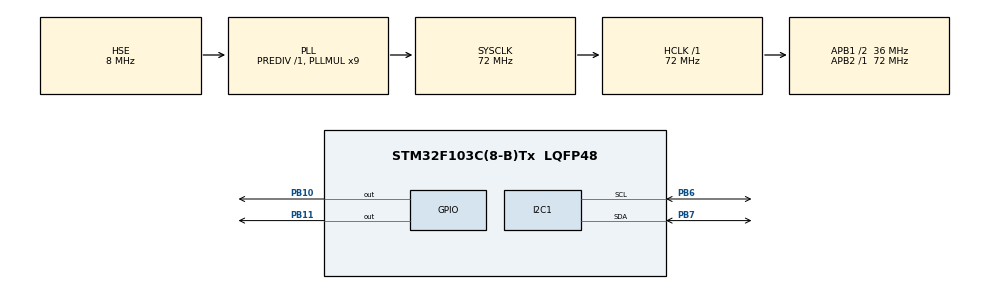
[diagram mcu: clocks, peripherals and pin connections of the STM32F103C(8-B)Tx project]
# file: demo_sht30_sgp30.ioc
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I2C1.I2C_Mode=I2C_Standard
Mcu.Family=STM32F1
Mcu.Name=STM32F103C(8-B)Tx
Mcu.Package=LQFP48
NVIC.PriorityGroup=NVIC_PRIORITYGROUP_4
PA13.Mode=Serial_Wire
PA13.Signal=SYS_JTMS-SWDIO
PA14.Mode=Serial_Wire
PA14.Signal=SYS_JTCK-SWCLK
PB10.GPIO_ModeDefaultOutputPP=GPIO_MODE_OUTPUT_OD
PB10.GPIO_PuPd=GPIO_PULLUP
PB10.Signal=GPIO_Output
PB11.GPIO_ModeDefaultOutputPP=GPIO_MODE_OUTPUT_OD
PB11.GPIO_PuPd=GPIO_PULLUP
PB11.Signal=GPIO_Output
PB6.Mode=I2C
PB6.Signal=I2C1_SCL
PB7.Mode=I2C
PB7.Signal=I2C1_SDA
PD0-OSC_IN.Mode=HSE-External-Oscillator
PD0-OSC_IN.Signal=RCC_OSC_IN
PD1-OSC_OUT.Mode=HSE-External-Oscillator
PD1-OSC_OUT.Signal=RCC_OSC_OUT
ProjectManager.HeapSize=0x200
ProjectManager.StackSize=0x400
ProjectManager.TargetToolchain=STM32CubeIDE
RCC.AHBFreq_Value=72000000
RCC.APB1CLKDivider=RCC_HCLK_DIV2
RCC.APB1Freq_Value=36000000
RCC.APB1TimFreq_Value=72000000
RCC.APB2Freq_Value=72000000
RCC.APB2TimFreq_Value=72000000
RCC.HCLKFreq_Value=72000000
RCC.PLLMUL=RCC_PLL_MUL9
RCC.PLLSourceVirtual=RCC_PLLSOURCE_HSE
RCC.SYSCLKFreq_VALUE=72000000
RCC.SYSCLKSource=RCC_SYSCLKSOURCE_PLLCLK
RCC.USBFreq_Value=72000000
board=custom

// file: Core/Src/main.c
/* USER CODE BEGIN Header */
/**
 ******************************************************************************
 * @file           : main.c
 * @brief          : Main program body
 ******************************************************************************
 * @attention
 *
 * Copyright (c) 2024 STMicroelectronics.
 * All rights reserved.
 *
 * This software is licensed under terms that can be found in the LICENSE file
 * in the root directory of this software component.
 * If no LICENSE file comes with this software, it is provided AS-IS.
 *
 ******************************************************************************
 */
/* USER CODE END Header */
#include "main.h"
#include "i2c.h"
#include "gpio.h"

/* USER CODE BEGIN Includes */
#include "systick.h"
#include "oled.h"
#include "sgp30.h"
#include "sht30.h"
/* USER CODE END Includes */

void SystemClock_Config(void);

int main(void)
{

  /* MCU Configuration--------------------------------------------------------*/

  /* Reset of all peripherals, Initializes the Flash interface and the Systick. */
  HAL_Init();

  /* Configure the system clock */
  SystemClock_Config();

  /* Initialize all configured peripherals */
  MX_GPIO_Init();
  MX_I2C1_Init();
  /* USER CODE BEGIN 2 */
	SHT30_TypeDef sht30 = { 0 };
	SGP30_TypeDef sgp30 = { 0 };

	OLED_Init();
	SHT30_Init();
	SGP30_Init();
	SHT30_Set_Periodic_Data_Acquisition_Mode(0x21, 0x30);
	SGP30_IAQ_Init();
  /* USER CODE END 2 */

  /* Infinite loop */
  /* USER CODE BEGIN WHILE */
	while (1) {

		OLED_ShowNum(1, 1, SystemCoreClock, 8);

		SHT30_Measure_Periodic_Mode(&sht30);
		SGP30_Measure_IAQ(&sgp30);

		OLED_ShowNum(3, 1, sht30.temp, 4);
		OLED_ShowNum(4, 1, sht30.hum, 4);
		OLED_ShowNum(3, 7, sgp30.co2eq, 4);
		OLED_ShowNum(4, 7, sgp30.tvoc, 4);
		Delay_s(1);
    /* USER CODE END WHILE */

	}
}

void SystemClock_Config(void)
{
  RCC_OscInitTypeDef RCC_OscInitStruct = {0};
  RCC_ClkInitTypeDef RCC_ClkInitStruct = {0};

  /** Initializes the RCC Oscillators according to the specified parameters
  * in the RCC_OscInitTypeDef structure.
  */
  RCC_OscInitStruct.OscillatorType = RCC_OSCILLATORTYPE_HSE;
  RCC_OscInitStruct.HSEState = RCC_HSE_ON;
  RCC_OscInitStruct.HSEPredivValue = RCC_HSE_PREDIV_DIV1;
  RCC_OscInitStruct.HSIState = RCC_HSI_ON;
  RCC_OscInitStruct.PLL.PLLState = RCC_PLL_ON;
  RCC_OscInitStruct.PLL.PLLSource = RCC_PLLSOURCE_HSE;
  RCC_OscInitStruct.PLL.PLLMUL = RCC_PLL_MUL9;
  if (HAL_RCC_OscConfig(&RCC_OscInitStruct) != HAL_OK)
  {
    Error_Handler();
  }

  /** Initializes the CPU, AHB and APB buses clocks
  */
  RCC_ClkInitStruct.ClockType = RCC_CLOCKTYPE_HCLK|RCC_CLOCKTYPE_SYSCLK
                              |RCC_CLOCKTYPE_PCLK1|RCC_CLOCKTYPE_PCLK2;
  RCC_ClkInitStruct.SYSCLKSource = RCC_SYSCLKSOURCE_PLLCLK;
  RCC_ClkInitStruct.AHBCLKDivider = RCC_SYSCLK_DIV1;
  RCC_ClkInitStruct.APB1CLKDivider = RCC_HCLK_DIV2;
  RCC_ClkInitStruct.APB2CLKDivider = RCC_HCLK_DIV1;

  if (HAL_RCC_ClockConfig(&RCC_ClkInitStruct, FLASH_LATENCY_2) != HAL_OK)
  {
    Error_Handler();
  }
}

void Error_Handler(void)
{
	__disable_irq();
	while (1) {
	}
}
